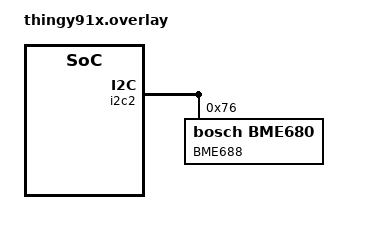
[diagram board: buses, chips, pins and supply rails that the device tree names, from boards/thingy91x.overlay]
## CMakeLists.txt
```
cmake_minimum_required(VERSION 3.20.0)

find_package(Zephyr REQUIRED HINTS $ENV{ZEPHYR_BASE})
project(nrf91x_tracker)

target_sources(app PRIVATE
    src/main.c
    src/ble_scanner.c
    src/cell_scanner.c
    src/gnss_module.c
    src/wifi_scanner.c
    src/http_client.c
    src/sensor_module.c
)

target_include_directories(app PRIVATE src)
```

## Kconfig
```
mainmenu "nRF91X Location Tracker"

config TRACKER_TLS_SEC_TAG
    int "TLS security tag for AWS CA certificate"
    default 1
    help
      Modem security tag used to store the AWS root CA certificate.
      Must be unique on this device. Range 0–2147483647.

source "Kconfig.zephyr"
```

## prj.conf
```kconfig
# =============================================================================
# Application
# =============================================================================
CONFIG_MAIN_STACK_SIZE=8192
CONFIG_HEAP_MEM_POOL_SIZE=131072
CONFIG_SYSTEM_WORKQUEUE_STACK_SIZE=4096

# =============================================================================
# LTE / Modem (nRF9151 — accessed from nRF5340 via IPC)
# =============================================================================
CONFIG_NRF_MODEM_LIB=y
CONFIG_LTE_LINK_CONTROL=y
CONFIG_LTE_AUTO_INIT_AND_CONNECT=n
CONFIG_LTE_NETWORK_MODE_LTE_M=y
CONFIG_LTE_NETWORK_USE_FALLBACK=y
CONFIG_MODEM_INFO=y
CONFIG_MODEM_INFO_ADD_DEVICE=y
CONFIG_MODEM_INFO_ADD_NETWORK=y

# =============================================================================
# GNSS (nRF9151 integrated — accessed via modem IPC)
# =============================================================================
CONFIG_NRF_CLOUD_AGPS=n
CONFIG_NRF9160_GPS=y

# =============================================================================
# WiFi scanning — nRF7002 WiFi 6 companion IC
# =============================================================================
CONFIG_WIFI=y
CONFIG_WIFI_NRF700X=y
CONFIG_NRF_WIFI=y
CONFIG_NRF_WIFI_SCAN_ONLY=y
CONFIG_NET_L2_WIFI_MGMT=y
CONFIG_NET_MGMT=y
CONFIG_NET_MGMT_EVENT=y
CONFIG_NET_MGMT_EVENT_INFO=y
CONFIG_NET_MGMT_EVENT_STACK_SIZE=4096
CONFIG_WIFI_SCAN_MAX_BSS_CNT=20
# Coexistence: nRF7002 and nRF5340 BLE share the 2.4/5 GHz antenna
CONFIG_MPSL_CX=y
CONFIG_MPSL_CX_NRF700X=y

# =============================================================================
# Bluetooth scanning (nRF5340 native)
# =============================================================================
CONFIG_BT=y
CONFIG_BT_OBSERVER=y
CONFIG_BT_CENTRAL=n
CONFIG_BT_PERIPHERAL=n
CONFIG_BT_EXT_ADV=y
CONFIG_BT_SCAN_MAX_RESULTS=20
CONFIG_BT_DEVICE_NAME="thingy91x-tracker"

# =============================================================================
# Environmental sensor (BME688) + nPM1300 fuel gauge (battery level)
# =============================================================================
CONFIG_I2C=y
CONFIG_SENSOR=y
CONFIG_BME680=y
CONFIG_NPM1300=y
CONFIG_NPM1300_FUEL_GAUGE=y

# =============================================================================
# Networking / TLS / HTTPS
# =============================================================================
CONFIG_NETWORKING=y
CONFIG_NET_NATIVE=n
CONFIG_NET_SOCKETS=y
CONFIG_NET_SOCKETS_OFFLOAD=y
CONFIG_NET_SOCKETS_TLS=y
CONFIG_MBEDTLS=y
CONFIG_MBEDTLS_ENABLE_HEAP=y
CONFIG_MBEDTLS_HEAP_SIZE=32768
CONFIG_HTTP_CLIENT=y
CONFIG_NET_SOCKETS_POSIX_NAMES=y

# TLS credentials
CONFIG_TLS_CREDENTIALS=y
CONFIG_MODEM_KEY_MGMT=y

# =============================================================================
# DNS
# =============================================================================
CONFIG_DNS_RESOLVER=y
CONFIG_DNS_RESOLVER_MAX_SERVERS=1

# =============================================================================
# Timers / GPIO / Buttons
# =============================================================================
CONFIG_GPIO=y
CONFIG_DK_BUTTONS_AND_LEDS=y

# =============================================================================
# Logging
# =============================================================================
CONFIG_LOG=y
CONFIG_LOG_DEFAULT_LEVEL=3
CONFIG_LOG_BACKEND_UART=y
CONFIG_UART_CONSOLE=y
CONFIG_SERIAL=y

# =============================================================================
# Date/Time (for timestamps)
# =============================================================================
CONFIG_DATE_TIME=y
CONFIG_DATE_TIME_AUTO_UPDATE=y

# =============================================================================
# Settings (persist device ID etc.)
# =============================================================================
CONFIG_SETTINGS=y
CONFIG_SETTINGS_NVS=y
CONFIG_NVS=y
CONFIG_FLASH=y
CONFIG_FLASH_PAGE_LAYOUT=y
CONFIG_FLASH_MAP=y
```

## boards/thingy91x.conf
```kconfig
# Thingy:91X board-specific overrides
CONFIG_BOARD_THINGY91X=y

# BME688 is on I2C2 on Thingy:91X
CONFIG_I2C=y

# Enable the SHT4X alternative if BME688 driver not available in your NCS version
# CONFIG_SHT4X=y
```

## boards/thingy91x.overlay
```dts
/*
 * Thingy:91X device tree overlay
 *
 * Enables BME688 on the I2C bus used by the board.
 * Adjust the i2c node alias if your NCS board definition differs.
 */

/ {
    chosen {
        nordic,pm-ext-flash = &mx25r64;
    };
};

/* BME688 environmental sensor */
&i2c2 {
    status = "okay";

    bme688: bme688@76 {
        compatible = "bosch,bme680";
        reg = <0x76>;
        label = "BME688";
    };
};
```

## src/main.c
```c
#include <zephyr/kernel.h>
#include <zephyr/logging/log.h>
#include <zephyr/drivers/gpio.h>
#include <dk_buttons_and_leds.h>
#include <modem/lte_lc.h>
#include <date_time.h>
#include <string.h>
#include <stdio.h>

#include "tracker.h"

LOG_MODULE_REGISTER(main, LOG_LEVEL_INF);

/* ---- State ------------------------------------------------------------- */

static struct k_work_delayable report_work;
static atomic_t fast_mode_remaining_s = ATOMIC_INIT(0);
static struct k_work_delayable fast_mode_countdown_work;

/* ---- LED helpers ------------------------------------------------------- */

static void set_led_fast_mode(bool active)
{
    dk_set_led(DK_LED1, active ? 1 : 0);
}

/* ---- Fast-mode countdown (ticks down every second) --------------------- */

static void fast_mode_countdown_handler(struct k_work *work)
{
    int remaining = atomic_dec(&fast_mode_remaining_s);

    if (remaining > 1) {
        k_work_schedule(&fast_mode_countdown_work, K_SECONDS(1));
    } else {
        atomic_set(&fast_mode_remaining_s, 0);
        set_led_fast_mode(false);
        LOG_INF("Fast mode ended, returning to %ds interval", INTERVAL_NORMAL_S);
        k_work_reschedule(&report_work, K_SECONDS(INTERVAL_NORMAL_S));
    }
}

/* ---- Button handler ---------------------------------------------------- */

static void button_handler(uint32_t button_state, uint32_t has_changed)
{
    if (!((button_state & has_changed) & DK_BTN1_MSK)) {
        return;
    }

    LOG_INF("Button pressed: fast mode for %ds", FAST_MODE_DURATION_S);
    atomic_set(&fast_mode_remaining_s, FAST_MODE_DURATION_S);
    set_led_fast_mode(true);

    k_work_reschedule(&report_work, K_NO_WAIT);
    k_work_schedule(&fast_mode_countdown_work, K_SECONDS(1));
}

/* ---- Core report ------------------------------------------------------- */

static void do_report(struct k_work *work)
{
    int err;
    struct tracker_payload payload = { 0 };
    int64_t ts_ms;

    /* Timestamp */
    if (date_time_now(&ts_ms) == 0) {
        payload.timestamp = ts_ms / 1000;
    }

    /* Device ID from modem IMEI — populated once at boot, reused each cycle */
    static char device_id[32] = { 0 };
    if (device_id[0] == '\0') {
        strncpy(device_id, "thingy91x-unknown", sizeof(device_id) - 1);
    }
    strncpy(payload.device_id, device_id, sizeof(payload.device_id) - 1);

    /* Current interval */
    bool fast = atomic_get(&fast_mode_remaining_s) > 0;
    payload.interval_s = fast ? INTERVAL_FAST_S : INTERVAL_NORMAL_S;

    /* GNSS — up to 30 s; sends null location if no fix */
    err = gnss_module_get_fix(&payload.gnss, K_SECONDS(30));
    if (err) {
        LOG_WRN("GNSS fix failed (%d), continuing without location", err);
    }

    /* Cell tower measurement via nRF9151 modem */
    err = cell_scanner_measure(&payload.cells, K_SECONDS(CELL_MEAS_TIMEOUT_S));
    if (err) {
        LOG_WRN("Cell measurement failed (%d)", err);
    }

    /* WiFi AP scan via nRF7002 */
    err = wifi_scanner_scan(&payload.wifi, WIFI_SCAN_TIMEOUT_S);
    if (err) {
        LOG_WRN("WiFi scan failed (%d)", err);
    }

    /* BLE scan via nRF5340 */
    err = ble_scanner_scan(&payload.ble, BLE_SCAN_DURATION_S);
    if (err) {
        LOG_WRN("BLE scan failed (%d)", err);
    }

    /* Environmental sensor (BME688) */
    err = sensor_module_read(&payload.env);
    if (err) {
        LOG_WRN("Sensor read failed (%d)", err);
    }

    /* POST to AWS Lambda */
    err = http_client_post(&payload);
    if (err) {
        LOG_ERR("HTTP POST failed (%d)", err);
    } else {
        LOG_INF("Sent OK — lat=%.6f lon=%.6f temp=%.1f cells=%d wifi=%d ble=%d",
                payload.gnss.latitude, payload.gnss.longitude,
                payload.env.temperature,
                payload.cells.neighbor_count + (payload.cells.serving.valid ? 1 : 0),
                payload.wifi.count, payload.ble.count);
    }

    k_work_schedule(&report_work,
                    K_SECONDS(fast ? INTERVAL_FAST_S : INTERVAL_NORMAL_S));
}

/* ---- LTE connect ------------------------------------------------------- */

static void lte_event_handler(const struct lte_lc_evt *const evt)
{
    switch (evt->type) {
    case LTE_LC_EVT_NW_REG_STATUS:
        if (evt->nw_reg_status == LTE_LC_NW_REG_REGISTERED_HOME ||
            evt->nw_reg_status == LTE_LC_NW_REG_REGISTERED_ROAMING) {
            LOG_INF("LTE registered (%s)",
                    evt->nw_reg_status == LTE_LC_NW_REG_REGISTERED_HOME
                        ? "home" : "roaming");
        }
        break;
    case LTE_LC_EVT_PSM_UPDATE:
        LOG_DBG("PSM: TAU=%d s, active=%d s",
                evt->psm_cfg.tau, evt->psm_cfg.active_time);
        break;
    default:
        break;
    }
}

static int lte_connect(void)
{
    int err;

    LOG_INF("Connecting to LTE...");
    lte_lc_register_handler(lte_event_handler);

    err = lte_lc_init_and_connect();
    if (err) {
        LOG_ERR("LTE connect failed (%d)", err);
        return err;
    }

    LOG_INF("LTE connected");
    return 0;
}

/* ---- Entry point ------------------------------------------------------- */

int main(void)
{
    int err;

    LOG_INF("nRF91X location tracker starting");

    err = gnss_module_init();
    if (err) {
        LOG_ERR("GNSS init failed (%d)", err);
        return err;
    }

    err = wifi_scanner_init();
    if (err) {
        LOG_ERR("WiFi init failed (%d)", err);
        return err;
    }

    err = cell_scanner_init();
    if (err) {
        LOG_ERR("Cell scanner init failed (%d)", err);
        return err;
    }

    err = ble_scanner_init();
    if (err) {
        LOG_ERR("BLE init failed (%d)", err);
        return err;
    }

    err = sensor_module_init();
    if (err) {
        LOG_ERR("Sensor init failed (%d)", err);
        return err;
    }

    err = dk_buttons_init(button_handler);
    if (err) {
        LOG_ERR("Button init failed (%d)", err);
        return err;
    }

    err = dk_leds_init();
    if (err) {
        LOG_ERR("LED init failed (%d)", err);
        return err;
    }

    err = lte_connect();
    if (err) {
        return err;
    }

    err = http_client_init();
    if (err) {
        LOG_ERR("HTTP client init failed (%d)", err);
        return err;
    }

    err = date_time_update_async(NULL);
    if (err) {
        LOG_WRN("Date/time sync failed (%d)", err);
    }

    k_work_init_delayable(&report_work, do_report);
    k_work_init_delayable(&fast_mode_countdown_work, fast_mode_countdown_handler);

    k_work_schedule(&report_work, K_NO_WAIT);

    return 0;
}
```

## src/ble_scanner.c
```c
#include <zephyr/kernel.h>
#include <zephyr/logging/log.h>
#include <zephyr/bluetooth/bluetooth.h>
#include <zephyr/bluetooth/hci.h>
#include <zephyr/bluetooth/addr.h>
#include <string.h>
#include <stdio.h>

#include "tracker.h"

LOG_MODULE_REGISTER(ble_scanner, LOG_LEVEL_INF);

static struct ble_scan_result *scan_result_ptr;
static struct k_sem scan_done_sem;

/* Called for every advertisement received during the scan window */
static void scan_cb(const bt_addr_le_t *addr, int8_t rssi, uint8_t adv_type,
                    struct net_buf_simple *buf)
{
    if (!scan_result_ptr) {
        return;
    }

    struct ble_scan_result *res = scan_result_ptr;

    if (res->count >= BLE_MAX_DEVICES) {
        return;
    }

    /* Deduplicate by address */
    char addr_str[18];
    bt_addr_le_to_str(addr, addr_str, sizeof(addr_str));
    /* Strip type suffix appended by bt_addr_le_to_str, e.g. " (random)" */
    char *space = strchr(addr_str, ' ');
    if (space) {
        *space = '\0';
    }

    for (int i = 0; i < res->count; i++) {
        if (strcmp(res->devices[i].addr, addr_str) == 0) {
            /* Update RSSI in place (keep strongest reading) */
            if (rssi > res->devices[i].rssi) {
                res->devices[i].rssi = rssi;
            }
            return;
        }
    }

    struct ble_device *dev = &res->devices[res->count];
    strncpy(dev->addr, addr_str, sizeof(dev->addr) - 1);
    dev->rssi     = rssi;
    dev->adv_type = adv_type;

    /* Try to parse local name from advertisement data */
    struct net_buf_simple_state state;
    net_buf_simple_save(buf, &state);

    while (buf->len > 1) {
        uint8_t len  = net_buf_simple_pull_u8(buf);
        if (len == 0 || len > buf->len) {
            break;
        }
        uint8_t type = net_buf_simple_pull_u8(buf);
        len--;

        /* 0x08 = Shortened Local Name, 0x09 = Complete Local Name */
        if ((type == 0x08 || type == 0x09) && len > 0 &&
            len < sizeof(dev->name)) {
            memcpy(dev->name, buf->data, len);
            dev->name[len] = '\0';
            buf->data += len;
            buf->len  -= len;
            break;
        } else {
            net_buf_simple_pull(buf, len);
        }
    }

    net_buf_simple_restore(buf, &state);

    res->count++;
}

int ble_scanner_init(void)
{
    int err;

    k_sem_init(&scan_done_sem, 0, 1);

    err = bt_enable(NULL);
    if (err) {
        LOG_ERR("BT enable failed (%d)", err);
        return err;
    }

    LOG_INF("BLE scanner ready");
    return 0;
}

int ble_scanner_scan(struct ble_scan_result *out, uint32_t duration_s)
{
    int err;

    memset(out, 0, sizeof(*out));
    scan_result_ptr = out;

    struct bt_le_scan_param scan_params = {
        .type     = BT_LE_SCAN_TYPE_PASSIVE,
        .options  = BT_LE_SCAN_OPT_FILTER_DUPLICATE,
        .interval = BT_GAP_SCAN_FAST_INTERVAL,
        .window   = BT_GAP_SCAN_FAST_WINDOW,
    };

    err = bt_le_scan_start(&scan_params, scan_cb);
    if (err) {
        LOG_ERR("BLE scan start failed (%d)", err);
        scan_result_ptr = NULL;
        return err;
    }

    LOG_INF("BLE scanning for %us...", duration_s);
    k_sleep(K_SECONDS(duration_s));

    bt_le_scan_stop();
    scan_result_ptr = NULL;

    LOG_INF("BLE scan done: %d device(s) found", out->count);
    return 0;
}
```

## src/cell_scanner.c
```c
#include <zephyr/kernel.h>
#include <zephyr/logging/log.h>
#include <modem/lte_lc.h>
#include <string.h>

#include "tracker.h"

LOG_MODULE_REGISTER(cell_scanner, LOG_LEVEL_INF);

/* ---- Internal state ---------------------------------------------------- */

static struct k_sem meas_done_sem;
static struct cell_scan_data *result_ptr;

/*
 * 3GPP TS 36.133 conversions:
 *   RSRP(dBm) = raw_value - 140   (range: -140 to -43 dBm)
 *   RSRQ(dB)  = raw_value/2 - 19  (range: -19.5 to -3 dB, reported *2)
 */
static inline int16_t rsrp_to_dbm(int16_t raw) { return raw - 140; }
static inline int16_t rsrq_to_db(int16_t raw)  { return raw / 2 - 19; }

/* ---- lte_lc event handler (registered alongside main.c's handler) ------ */

static void cell_lte_handler(const struct lte_lc_evt *const evt)
{
    if (evt->type != LTE_LC_EVT_NEIGHBOR_CELL_MEAS) {
        return;
    }

    struct cell_scan_data *res = result_ptr;
    if (!res) {
        return;
    }

    const struct lte_lc_cells_info *info = &evt->cells_info;

    /* Serving cell */
    const struct lte_lc_cell *s = &info->current_cell;
    if (s->id != LTE_LC_CELL_EUTRAN_ID_INVALID) {
        res->serving.mcc             = s->mcc;
        res->serving.mnc             = s->mnc;
        res->serving.tac             = s->tac;
        res->serving.cell_id         = s->id;
        res->serving.earfcn          = s->earfcn;
        res->serving.pci             = s->phys_cell_id;
        res->serving.rsrp_dbm        = rsrp_to_dbm(s->rsrp);
        res->serving.rsrq_db         = rsrq_to_db(s->rsrq);
        res->serving.timing_advance  = s->timing_advance;
        res->serving.valid           = true;
    }

    /* Neighbor cells */
    res->neighbor_count = MIN(info->ncells_count, CELL_MAX_NEIGHBORS);
    for (int i = 0; i < res->neighbor_count; i++) {
        const struct lte_lc_ncell *n = &info->neighbor_cells[i];
        res->neighbors[i].earfcn   = n->earfcn;
        res->neighbors[i].pci      = n->phys_cell_id;
        res->neighbors[i].rsrp_dbm = rsrp_to_dbm(n->rsrp);
        res->neighbors[i].rsrq_db  = rsrq_to_db(n->rsrq);
        res->neighbors[i].time_diff = n->time_diff;
    }

    LOG_INF("Cell meas: serving cell_id=%u MCC=%u MNC=%u RSRP=%ddBm, "
            "%d neighbor(s)",
            res->serving.cell_id, res->serving.mcc, res->serving.mnc,
            res->serving.rsrp_dbm, res->neighbor_count);

    k_sem_give(&meas_done_sem);
}

/* ---- Public API -------------------------------------------------------- */

int cell_scanner_init(void)
{
    k_sem_init(&meas_done_sem, 0, 1);
    lte_lc_register_handler(cell_lte_handler);
    LOG_INF("Cell scanner ready");
    return 0;
}

int cell_scanner_measure(struct cell_scan_data *out, k_timeout_t timeout)
{
    int err;

    memset(out, 0, sizeof(*out));
    result_ptr = out;
    k_sem_reset(&meas_done_sem);

    struct lte_lc_ncellmeas_params params = {
        .search_type = LTE_LC_NEIGHBOR_SEARCH_TYPE_DEFAULT,
        .gci_count   = 0,
    };

    err = lte_lc_neighbor_cell_measurement(&params);
    if (err) {
        LOG_ERR("Neighbor cell measurement request failed (%d)", err);
        result_ptr = NULL;
        return err;
    }

    err = k_sem_take(&meas_done_sem, timeout);
    result_ptr = NULL;

    if (err == -EAGAIN) {
        LOG_WRN("Cell measurement timeout");
        lte_lc_neighbor_cell_measurement_cancel();
        return -ETIMEDOUT;
    }

    return 0;
}
```

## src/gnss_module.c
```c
#include <zephyr/kernel.h>
#include <zephyr/logging/log.h>
#include <nrf_modem_gnss.h>
#include <string.h>

#include "tracker.h"

LOG_MODULE_REGISTER(gnss_module, LOG_LEVEL_INF);

static struct k_sem gnss_fix_sem;
static struct nrf_modem_gnss_pvt_data_frame pvt_data;
static bool fix_received;

static void gnss_event_handler(int event)
{
    switch (event) {
    case NRF_MODEM_GNSS_EVT_PVT:
        nrf_modem_gnss_read(&pvt_data, sizeof(pvt_data),
                            NRF_MODEM_GNSS_DATA_PVT);

        if (pvt_data.flags & NRF_MODEM_GNSS_PVT_FLAG_FIX_VALID) {
            fix_received = true;
            k_sem_give(&gnss_fix_sem);
        }
        break;

    case NRF_MODEM_GNSS_EVT_AGPS_REQ:
        /* A-GPS not wired up in this project; GNSS will still work cold */
        break;

    default:
        break;
    }
}

int gnss_module_init(void)
{
    int err;

    k_sem_init(&gnss_fix_sem, 0, 1);
    fix_received = false;

    err = nrf_modem_gnss_event_handler_set(gnss_event_handler);
    if (err) {
        LOG_ERR("GNSS handler set failed (%d)", err);
        return err;
    }

    /* Single-fix mode: acquire one fix, then stop to save power */
    err = nrf_modem_gnss_fix_interval_set(0);
    if (err) {
        LOG_ERR("GNSS fix interval failed (%d)", err);
        return err;
    }

    /* Use all constellations */
    err = nrf_modem_gnss_system_mask_set(
        NRF_MODEM_GNSS_SYSTEM_GPS_MASK |
        NRF_MODEM_GNSS_SYSTEM_GLONASS_MASK |
        NRF_MODEM_GNSS_SYSTEM_GALILEO_MASK);
    if (err) {
        LOG_WRN("GNSS system mask set failed (%d), using default", err);
    }

    LOG_INF("GNSS module ready");
    return 0;
}

int gnss_module_get_fix(struct gnss_data *out, k_timeout_t timeout)
{
    int err;

    memset(out, 0, sizeof(*out));
    fix_received = false;
    k_sem_reset(&gnss_fix_sem);

    err = nrf_modem_gnss_start();
    if (err) {
        LOG_ERR("GNSS start failed (%d)", err);
        return err;
    }

    LOG_INF("Waiting for GNSS fix...");
    err = k_sem_take(&gnss_fix_sem, timeout);

    nrf_modem_gnss_stop();

    if (err == -EAGAIN) {
        LOG_WRN("GNSS fix timeout");
        return -ETIMEDOUT;
    }

    out->latitude   = pvt_data.latitude;
    out->longitude  = pvt_data.longitude;
    out->altitude   = pvt_data.altitude;
    out->accuracy   = pvt_data.accuracy;
    out->speed      = pvt_data.speed;
    out->heading    = pvt_data.heading;
    out->satellites = pvt_data.sv_count;
    out->valid      = true;

    LOG_INF("Fix: lat=%.6f lon=%.6f alt=%.1f acc=%.1f sats=%d",
            out->latitude, out->longitude, out->altitude,
            out->accuracy, out->satellites);
    return 0;
}
```

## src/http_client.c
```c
#include <zephyr/kernel.h>
#include <zephyr/logging/log.h>
#include <zephyr/net/socket.h>
#include <zephyr/net/tls_credentials.h>
#include <net/http_client.h>
#include <modem/modem_key_mgmt.h>
#include <stdio.h>
#include <string.h>
#include <inttypes.h>

#include "tracker.h"
#include "aws_config.h"   /* user-supplied: HOST, PATH, AUTH_TOKEN, CA_CERT */

LOG_MODULE_REGISTER(http_client, LOG_LEVEL_INF);

/* TLS security tag for the AWS root CA certificate */
#define TLS_SEC_TAG  CONFIG_TRACKER_TLS_SEC_TAG

/* Receive buffer — large enough for the Lambda response */
#define RECV_BUF_SIZE   512
static char recv_buf[RECV_BUF_SIZE];

/* ---- JSON builder ------------------------------------------------------ */

/*
 * Builds the JSON body into `buf` (size `buf_size`).
 * Returns the number of bytes written (not including NUL), or negative errno.
 */
static int build_json(const struct tracker_payload *p, char *buf, size_t buf_size)
{
    int off = 0;
    int n;

#define APPEND(...) \
    do { \
        n = snprintf(buf + off, buf_size - off, __VA_ARGS__); \
        if (n < 0 || (size_t)(off + n) >= buf_size) return -ENOMEM; \
        off += n; \
    } while (0)

    APPEND("{");
    APPEND("\"device_id\":\"%s\",", p->device_id);
    APPEND("\"timestamp\":%" PRId64 ",", p->timestamp);
    APPEND("\"interval_s\":%d,", p->interval_s);

    /* Location */
    if (p->gnss.valid) {
        APPEND("\"location\":{"
               "\"latitude\":%.7f,"
               "\"longitude\":%.7f,"
               "\"altitude\":%.2f,"
               "\"accuracy\":%.2f,"
               "\"speed\":%.2f,"
               "\"heading\":%.2f,"
               "\"satellites\":%d"
               "},",
               p->gnss.latitude, p->gnss.longitude,
               p->gnss.altitude, p->gnss.accuracy,
               p->gnss.speed, p->gnss.heading,
               p->gnss.satellites);
    } else {
        APPEND("\"location\":null,");
    }

    /* Cell towers (nRF9151 modem neighbor measurement) */
    if (p->cells.serving.valid) {
        const struct cell_tower_serving *s = &p->cells.serving;
        APPEND("\"cell_towers\":{"
               "\"serving\":{"
               "\"mcc\":%u,\"mnc\":%u,\"tac\":%u,\"cell_id\":%u,"
               "\"earfcn\":%u,\"pci\":%u,\"rsrp_dbm\":%d,\"rsrq_db\":%d,"
               "\"timing_advance\":%u"
               "},",
               s->mcc, s->mnc, s->tac, s->cell_id,
               s->earfcn, s->pci, s->rsrp_dbm, s->rsrq_db,
               s->timing_advance);
        APPEND("\"neighbors\":[");
        for (int i = 0; i < p->cells.neighbor_count; i++) {
            const struct cell_tower_neighbor *n = &p->cells.neighbors[i];
            APPEND("%s{\"earfcn\":%u,\"pci\":%u,\"rsrp_dbm\":%d,"
                   "\"rsrq_db\":%d,\"time_diff\":%d}",
                   i > 0 ? "," : "",
                   n->earfcn, n->pci, n->rsrp_dbm, n->rsrq_db, n->time_diff);
        }
        APPEND("]},");
    } else {
        APPEND("\"cell_towers\":null,");
    }

    /* WiFi APs (nRF7002 scan) */
    APPEND("\"wifi\":[");
    for (int i = 0; i < p->wifi.count; i++) {
        const struct wifi_ap *ap = &p->wifi.aps[i];
        APPEND("%s{\"bssid\":\"%s\",\"ssid\":\"%s\",\"rssi\":%d,"
               "\"channel\":%u,\"band\":%u}",
               i > 0 ? "," : "",
               ap->bssid, ap->ssid, (int)ap->rssi,
               ap->channel, ap->band);
    }
    APPEND("],");

    /* BLE devices (nRF5340 scan) */
    APPEND("\"bluetooth\":[");
    for (int i = 0; i < p->ble.count; i++) {
        const struct ble_device *d = &p->ble.devices[i];
        APPEND("%s{\"mac\":\"%s\",\"rssi\":%d,\"name\":\"%s\",\"adv_type\":%u}",
               i > 0 ? "," : "",
               d->addr, (int)d->rssi, d->name, d->adv_type);
    }
    APPEND("],");

    /* Environment + battery */
    if (p->env.valid) {
        APPEND("\"environment\":{"
               "\"temperature\":%.2f,"
               "\"humidity\":%.2f,"
               "\"pressure\":%.2f,"
               "\"gas_resistance\":%.0f",
               p->env.temperature, p->env.humidity,
               p->env.pressure, p->env.gas_resistance);
        if (p->env.battery_valid) {
            APPEND(",\"battery_pct\":%u,\"battery_mv\":%u",
                   p->env.battery_pct, p->env.battery_mv);
        }
        APPEND("}");
    } else {
        APPEND("\"environment\":null");
    }

    APPEND("}");

#undef APPEND
    return off;
}

/* ---- HTTP response callback -------------------------------------------- */

static void response_cb(struct http_response *rsp,
                        enum http_final_call final_data,
                        void *user_data)
{
    if (final_data == HTTP_DATA_FINAL) {
        LOG_INF("HTTP response: status=%u body_len=%zu",
                rsp->http_status_code, rsp->content_length);
        if (rsp->http_status_code != 200) {
            LOG_WRN("Non-200 response: %u", rsp->http_status_code);
        }
    }
}

/* ---- TLS provisioning -------------------------------------------------- */

int http_client_init(void)
{
    int err;
    bool exists;

    /* Provision the AWS root CA certificate into modem secure storage.
     * This only writes if the credential isn't already present. */
    err = modem_key_mgmt_exists(TLS_SEC_TAG,
                                MODEM_KEY_MGMT_CRED_TYPE_CA_CHAIN,
                                &exists);
    if (err) {
        LOG_ERR("Key mgmt exists check failed (%d)", err);
        return err;
    }

    if (!exists) {
        err = modem_key_mgmt_write(TLS_SEC_TAG,
                                   MODEM_KEY_MGMT_CRED_TYPE_CA_CHAIN,
                                   AWS_CA_CERT, strlen(AWS_CA_CERT));
        if (err) {
            LOG_ERR("CA cert write failed (%d)", err);
            return err;
        }
        LOG_INF("AWS CA certificate provisioned (sec_tag=%d)", TLS_SEC_TAG);
    } else {
        LOG_INF("CA certificate already provisioned (sec_tag=%d)", TLS_SEC_TAG);
    }

    return 0;
}

/* ---- POST -------------------------------------------------------------- */

int http_client_post(const struct tracker_payload *payload)
{
    static char json_buf[2048];
    int json_len;
    int sock;
    int err;

    /* Build JSON body */
    json_len = build_json(payload, json_buf, sizeof(json_buf));
    if (json_len < 0) {
        LOG_ERR("JSON build failed (%d)", json_len);
        return json_len;
    }

    /* Build auth header: "Authorization: Bearer <token>\r\n" */
    static char auth_header[256];
    snprintf(auth_header, sizeof(auth_header),
             "Authorization: Bearer %s\r\n", AWS_AUTH_TOKEN);

    /* Custom headers array */
    const char *extra_headers[] = {
        auth_header,
        "Content-Type: application/json\r\n",
        NULL
    };

    /* Open TLS socket */
    static sec_tag_t sec_tag_list[] = { TLS_SEC_TAG };

    struct zsock_addrinfo hints = {
        .ai_family   = AF_INET,
        .ai_socktype = SOCK_STREAM,
    };
    struct zsock_addrinfo *res;

    err = zsock_getaddrinfo(AWS_LAMBDA_HOST, "443", &hints, &res);
    if (err) {
        LOG_ERR("DNS lookup failed for %s (%d)", AWS_LAMBDA_HOST, err);
        return -EHOSTUNREACH;
    }

    sock = zsock_socket(res->ai_family, SOCK_STREAM, IPPROTO_TLS_1_2);
    if (sock < 0) {
        LOG_ERR("Socket create failed (%d)", sock);
        zsock_freeaddrinfo(res);
        return sock;
    }

    err = zsock_setsockopt(sock, SOL_TLS, TLS_SEC_TAG_LIST,
                           sec_tag_list, sizeof(sec_tag_list));
    if (err) {
        LOG_ERR("TLS sec tag set failed (%d)", err);
        goto cleanup;
    }

    /* SNI hostname */
    err = zsock_setsockopt(sock, SOL_TLS, TLS_HOSTNAME,
                           AWS_LAMBDA_HOST, strlen(AWS_LAMBDA_HOST));
    if (err) {
        LOG_ERR("TLS hostname set failed (%d)", err);
        goto cleanup;
    }

    err = zsock_connect(sock, res->ai_addr, res->ai_addrlen);
    zsock_freeaddrinfo(res);
    res = NULL;
    if (err) {
        LOG_ERR("TLS connect failed (%d)", err);
        goto cleanup;
    }

    /* HTTP POST */
    struct http_request req = {
        .method          = HTTP_POST,
        .url             = AWS_LAMBDA_PATH,
        .host            = AWS_LAMBDA_HOST,
        .protocol        = "HTTP/1.1",
        .header_fields   = (const char **)extra_headers,
        .payload         = json_buf,
        .payload_len     = json_len,
        .response        = response_cb,
        .recv_buf        = recv_buf,
        .recv_buf_len    = sizeof(recv_buf),
    };

    err = http_client_req(sock, &req, 10000 /* ms timeout */, NULL);
    if (err < 0) {
        LOG_ERR("http_client_req failed (%d)", err);
    } else {
        err = 0;
    }

cleanup:
    zsock_close(sock);
    if (res) {
        zsock_freeaddrinfo(res);
    }
    return err;
}
```

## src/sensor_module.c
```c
#include <zephyr/kernel.h>
#include <zephyr/logging/log.h>
#include <zephyr/drivers/sensor.h>
#include <zephyr/device.h>
#include <string.h>

#include "tracker.h"

LOG_MODULE_REGISTER(sensor_module, LOG_LEVEL_INF);

static const struct device *bme688_dev;
static const struct device *npm1300_dev;  /* nPM1300 fuel gauge */

int sensor_module_init(void)
{
    bme688_dev = DEVICE_DT_GET_ANY(bosch_bme680);
    if (!bme688_dev || !device_is_ready(bme688_dev)) {
        LOG_ERR("BME688 device not ready");
        return -ENODEV;
    }

    /* nPM1300 fuel gauge — non-fatal if absent */
    npm1300_dev = DEVICE_DT_GET_ANY(nordic_npm1300_fuel_gauge);
    if (!npm1300_dev || !device_is_ready(npm1300_dev)) {
        LOG_WRN("nPM1300 fuel gauge not ready — battery level unavailable");
        npm1300_dev = NULL;
    }

    LOG_INF("Sensor module ready (BME688 + %s)",
            npm1300_dev ? "nPM1300 fuel gauge" : "no fuel gauge");
    return 0;
}

int sensor_module_read(struct env_data *out)
{
    int err;
    struct sensor_value val;

    memset(out, 0, sizeof(*out));

    if (!bme688_dev) {
        return -ENODEV;
    }

    err = sensor_sample_fetch(bme688_dev);
    if (err) {
        LOG_ERR("BME688 fetch failed (%d)", err);
        return err;
    }

    err = sensor_channel_get(bme688_dev, SENSOR_CHAN_AMBIENT_TEMP, &val);
    if (!err) {
        out->temperature = sensor_value_to_double(&val);
    }

    err = sensor_channel_get(bme688_dev, SENSOR_CHAN_HUMIDITY, &val);
    if (!err) {
        out->humidity = sensor_value_to_double(&val);
    }

    err = sensor_channel_get(bme688_dev, SENSOR_CHAN_PRESS, &val);
    if (!err) {
        out->pressure = sensor_value_to_double(&val);
    }

    /* Gas resistance — proxy for air quality (higher = cleaner air) */
    err = sensor_channel_get(bme688_dev, SENSOR_CHAN_GAS_RES, &val);
    if (!err) {
        out->gas_resistance = sensor_value_to_double(&val);
    }

    out->valid = true;

    /* Battery state from nPM1300 fuel gauge */
    if (npm1300_dev) {
        err = sensor_sample_fetch(npm1300_dev);
        if (!err) {
            /* State of charge: 0–100 % */
            if (!sensor_channel_get(npm1300_dev, SENSOR_CHAN_GAUGE_STATE_OF_CHARGE, &val)) {
                out->battery_pct = (uint8_t)val.val1;
                out->battery_valid = true;
            }
            /* Terminal voltage in mV */
            if (!sensor_channel_get(npm1300_dev, SENSOR_CHAN_GAUGE_VOLTAGE, &val)) {
                out->battery_mv = (uint16_t)(sensor_value_to_double(&val) * 1000.0);
            }
        } else {
            LOG_WRN("nPM1300 fetch failed (%d)", err);
        }
    }

    LOG_INF("Env: temp=%.2f°C hum=%.1f%% pres=%.2fhPa gas=%.0fΩ batt=%u%%%s",
            out->temperature, out->humidity, out->pressure, out->gas_resistance,
            out->battery_pct, out->battery_valid ? "" : "(n/a)");
    return 0;
}
```

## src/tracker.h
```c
#ifndef TRACKER_H
#define TRACKER_H

#include <stdint.h>
#include <stdbool.h>

/* ---- Timing ------------------------------------------------------------ */
#define INTERVAL_NORMAL_S       60
#define INTERVAL_FAST_S         10
#define FAST_MODE_DURATION_S    600   /* 10 minutes */

/* ---- BLE scan ---------------------------------------------------------- */
#define BLE_SCAN_DURATION_S     5
#define BLE_MAX_DEVICES         20

/* ---- WiFi scan (nRF7002) ----------------------------------------------- */
#define WIFI_SCAN_TIMEOUT_S     15
#define WIFI_MAX_APS            20

/* ---- Cell tower scan (nRF9151 modem) ----------------------------------- */
#define CELL_MEAS_TIMEOUT_S     10
#define CELL_MAX_NEIGHBORS      8

/* ---- Payload structures ------------------------------------------------ */

struct gnss_data {
    double  latitude;
    double  longitude;
    double  altitude;
    float   accuracy;
    float   speed;
    float   heading;
    int     satellites;
    bool    valid;
};

struct ble_device {
    char    addr[18];       /* "AA:BB:CC:DD:EE:FF" */
    char    name[32];
    int8_t  rssi;
    uint8_t adv_type;       /* ADV_IND, ADV_NONCONN_IND, etc. */
};

struct ble_scan_result {
    struct ble_device devices[BLE_MAX_DEVICES];
    int count;
};

struct wifi_ap {
    char    ssid[33];       /* max 32 chars + NUL */
    char    bssid[18];      /* "AA:BB:CC:DD:EE:FF" */
    int8_t  rssi;
    uint8_t channel;
    uint8_t band;           /* 2 = 2.4 GHz, 5 = 5 GHz */
};

struct wifi_scan_data {
    struct wifi_ap aps[WIFI_MAX_APS];
    int count;
};

struct cell_tower_serving {
    uint16_t mcc;             /* Mobile Country Code */
    uint16_t mnc;             /* Mobile Network Code */
    uint32_t tac;             /* Tracking Area Code */
    uint32_t cell_id;         /* E-UTRAN Cell ID */
    uint32_t earfcn;          /* E-ARFCN (frequency) */
    uint16_t pci;             /* Physical Cell ID */
    int16_t  rsrp_dbm;        /* Signal strength (dBm) */
    int16_t  rsrq_db;         /* Signal quality (dB) */
    uint16_t timing_advance;  /* Distance proxy (us) */
    bool     valid;
};

struct cell_tower_neighbor {
    uint32_t earfcn;
    uint16_t pci;
    int16_t  rsrp_dbm;
    int16_t  rsrq_db;
    int32_t  time_diff;       /* Timing difference vs serving cell */
};

struct cell_scan_data {
    struct cell_tower_serving  serving;
    struct cell_tower_neighbor neighbors[CELL_MAX_NEIGHBORS];
    int                        neighbor_count;
};

struct env_data {
    double   temperature;    /* °C */
    double   humidity;       /* % RH */
    double   pressure;       /* hPa */
    double   gas_resistance; /* Ω  (air quality proxy) */
    uint8_t  battery_pct;    /* 0–100 % state of charge (nPM1300) */
    uint16_t battery_mv;     /* Terminal voltage in mV */
    bool     battery_valid;
    bool     valid;
};

struct tracker_payload {
    char                    device_id[32];
    int64_t                 timestamp;      /* Unix epoch seconds */
    struct gnss_data        gnss;
    struct cell_scan_data   cells;
    struct wifi_scan_data   wifi;
    struct ble_scan_result  ble;
    struct env_data         env;
    int                     interval_s;     /* current reporting interval */
};

/* ---- Module APIs ------------------------------------------------------- */

/* gnss_module.c */
int  gnss_module_init(void);
int  gnss_module_get_fix(struct gnss_data *out, k_timeout_t timeout);

/* ble_scanner.c */
int  ble_scanner_init(void);
int  ble_scanner_scan(struct ble_scan_result *out, uint32_t duration_s);

/* wifi_scanner.c */
int  wifi_scanner_init(void);
int  wifi_scanner_scan(struct wifi_scan_data *out, uint32_t timeout_s);

/* cell_scanner.c */
int  cell_scanner_init(void);
int  cell_scanner_measure(struct cell_scan_data *out, k_timeout_t timeout);

/* sensor_module.c */
int  sensor_module_init(void);
int  sensor_module_read(struct env_data *out);

/* http_client.c */
int  http_client_init(void);
int  http_client_post(const struct tracker_payload *payload);

#endif /* TRACKER_H */
```

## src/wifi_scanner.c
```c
#include <zephyr/kernel.h>
#include <zephyr/logging/log.h>
#include <zephyr/net/wifi_mgmt.h>
#include <zephyr/net/net_mgmt.h>
#include <zephyr/net/net_if.h>
#include <string.h>
#include <stdio.h>

#include "tracker.h"

LOG_MODULE_REGISTER(wifi_scanner, LOG_LEVEL_INF);

/* ---- Internal state ---------------------------------------------------- */

static struct net_mgmt_event_callback wifi_cb;
static struct wifi_scan_result *scan_result_ptr;
static struct k_sem scan_done_sem;

/* ---- Event callback ---------------------------------------------------- */

static void handle_scan_result(struct net_mgmt_event_callback *cb)
{
    const struct wifi_scan_result *entry =
        (const struct wifi_scan_result *)cb->info;

    if (!scan_result_ptr) {
        return;
    }

    struct wifi_scan_data *res = (struct wifi_scan_data *)scan_result_ptr;

    if (res->count >= WIFI_MAX_APS) {
        return;
    }

    struct wifi_ap *ap = &res->aps[res->count];

    /* SSID */
    memcpy(ap->ssid, entry->ssid, entry->ssid_length);
    ap->ssid[entry->ssid_length] = '\0';

    /* BSSID as "AA:BB:CC:DD:EE:FF" */
    snprintf(ap->bssid, sizeof(ap->bssid), "%02X:%02X:%02X:%02X:%02X:%02X",
             entry->mac[0], entry->mac[1], entry->mac[2],
             entry->mac[3], entry->mac[4], entry->mac[5]);

    ap->rssi    = entry->rssi;
    ap->channel = entry->channel;
    ap->band    = (entry->band == WIFI_FREQ_BAND_5_GHZ) ? 5 : 2;

    res->count++;
}

static void handle_scan_done(void)
{
    k_sem_give(&scan_done_sem);
}

static void wifi_mgmt_event_handler(struct net_mgmt_event_callback *cb,
                                    uint32_t mgmt_event,
                                    struct net_if *iface)
{
    (void)iface;

    switch (mgmt_event) {
    case NET_EVENT_WIFI_SCAN_RESULT:
        handle_scan_result(cb);
        break;
    case NET_EVENT_WIFI_SCAN_DONE:
        handle_scan_done();
        break;
    default:
        break;
    }
}

/* ---- Public API -------------------------------------------------------- */

int wifi_scanner_init(void)
{
    k_sem_init(&scan_done_sem, 0, 1);

    net_mgmt_init_event_callback(&wifi_cb, wifi_mgmt_event_handler,
                                 NET_EVENT_WIFI_SCAN_RESULT |
                                 NET_EVENT_WIFI_SCAN_DONE);
    net_mgmt_add_event_callback(&wifi_cb);

    LOG_INF("WiFi scanner ready (nRF7002)");
    return 0;
}

int wifi_scanner_scan(struct wifi_scan_data *out, uint32_t timeout_s)
{
    struct net_if *iface;
    int err;

    memset(out, 0, sizeof(*out));
    scan_result_ptr = (struct wifi_scan_result *)out;  /* cast: same base ptr */
    k_sem_reset(&scan_done_sem);

    /* Get the WiFi interface (nRF7002) */
    iface = net_if_get_wifi_sta();
    if (!iface) {
        LOG_ERR("No WiFi interface found");
        scan_result_ptr = NULL;
        return -ENODEV;
    }

    /* Passive scan on both bands */
    struct wifi_scan_params params = {
        .scan_type = WIFI_SCAN_TYPE_PASSIVE,
        .bands     = WIFI_FREQ_BAND_2_4_GHZ | WIFI_FREQ_BAND_5_GHZ,
        .dwell_time_passive = 130,   /* ms per channel */
    };

    err = net_mgmt(NET_REQUEST_WIFI_SCAN, iface, &params, sizeof(params));
    if (err) {
        LOG_ERR("WiFi scan request failed (%d)", err);
        scan_result_ptr = NULL;
        return err;
    }

    LOG_INF("WiFi scanning (passive, 2.4+5 GHz)...");

    err = k_sem_take(&scan_done_sem, K_SECONDS(timeout_s));
    scan_result_ptr = NULL;

    if (err == -EAGAIN) {
        LOG_WRN("WiFi scan timeout after %us", timeout_s);
        return -ETIMEDOUT;
    }

    LOG_INF("WiFi scan done: %d AP(s) found", out->count);
    return 0;
}
```
